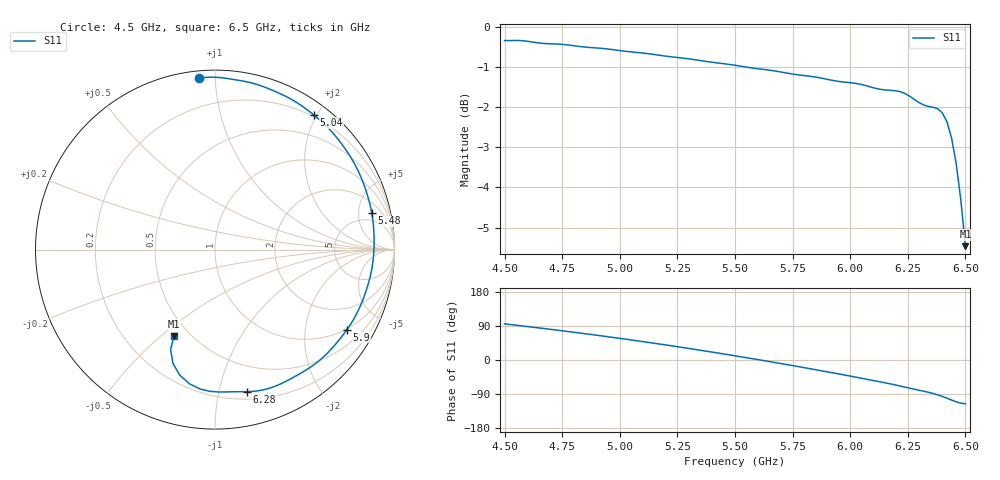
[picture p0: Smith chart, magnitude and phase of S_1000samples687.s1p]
! TOUCHSTONE file generated by CST MICROWAVE STUDIO
! Date and time: Sat Oct 29 00:59:17 2022
! Project name: L.cst
! Parameters = {Di=1.27; Epsilon_r=1.56; InnerDiameter=1.27; Length=2; Lf=10; Lg=60; OuterConductorThickness=0.2921; OuterDiameter=3.6; Wf=3; Wp=41.2; de=1.5; df=6.8; g=0.8; gx=3.51344; gy=4.04569; h=2.34; hf=1.524; px=9.51839; py=14.0828; w=9.7; wx=6.00495; wy=10.0371}
! Header version: 2018
! Port assignment regex: !\s*Touchstone port\s*([0-9]+)\s*=\s*(CST MWS port|CST DS port)\s*([0-9]+|Zmin|Zmax)\s*\(\"(.*)\"\)(\s*mode\s*([0-9]+))?.*
! Touchstone port assignment:
! Touchstone port 1 = CST MWS port 1 ("")
# GHz S DB R 50
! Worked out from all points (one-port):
!   101 points, 4.5 GHz to 6.5 GHz, reference 50 ohm
!   lowest |S11| = -5.5 dB at 6.5 GHz (marker M1), VSWR 3.29, Z = 20.5 - j27.7 ohm
!   |S11| at or under -10 dB: nowhere
!   S11 on the Smith chart (normalised r, x): 4.5 GHz: 0.04, +0.91; 5.04 GHz: 0.18, +1.96; 5.48 GHz: 3.41, +7.09; 5.9 GHz: 0.97, -3.32; 6.28 GHz: 0.26, -1.22; 6.5 GHz: 0.41, -0.55
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4.5  -0.35 95.3
4.6  -0.37 88.1
4.76  -0.45 76.3
4.9  -0.53 65.3
5  -0.60 57.1
5.04  -0.62 53.7
5.14  -0.69 45.0
5.26  -0.78 34.2
5.36  -0.85 24.8
5.48  -0.94 13.1
5.5  -0.96 11.1
5.64  -1.08 -3.1
5.76  -1.19 -15.9
5.84  -1.25 -24.5
5.9  -1.31 -31.2
6  -1.40 -42.4
6.08  -1.49 -51.9
6.16  -1.58 -61.2
6.22  -1.62 -69.1
6.26  -1.74 -74.6
6.28  -1.82 -77.3
6.36  -2.01 -88.3
6.4  -2.15 -96.1
6.42  -2.37 -100.8
6.44  -2.77 -105.7
6.46  -3.40 -110.3
6.48  -4.30 -113.9
6.5  -5.46 -115.4
